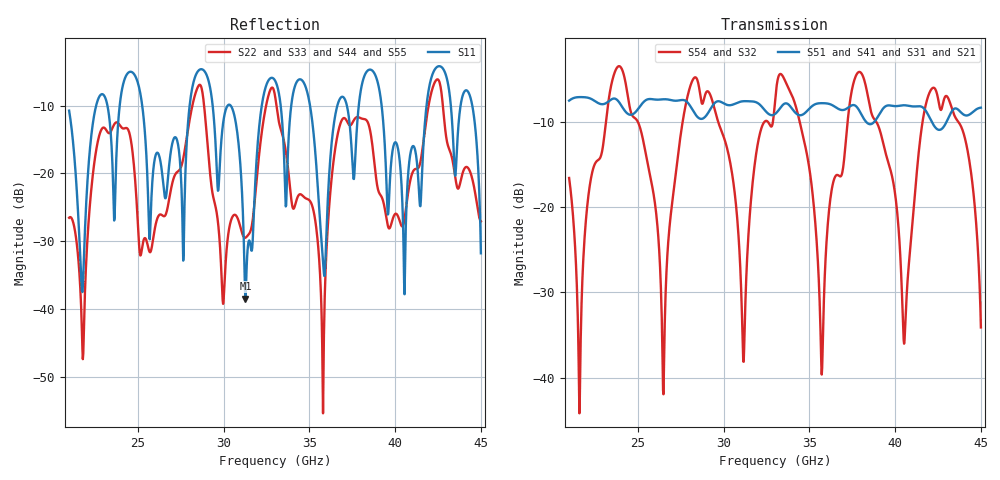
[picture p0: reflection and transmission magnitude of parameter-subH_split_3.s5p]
! Created Mon Jun 10 12:42:21 2024
# hz S ma R 50
! 5 Port Network Data from SP1.SP block
! freq  magS11  angS11  magS12  angS12  magS13  angS13  magS14  angS14
!  magS15  angS15
!  magS21  angS21  magS22  angS22  magS23  angS23
!  magS24  angS24  magS25  angS25
!  magS31  angS31  magS32  angS32
!  magS33  angS33  magS34  angS34  magS35  angS35
!  magS41  angS41
!  magS42  angS42  magS43  angS43  magS44  angS44  magS45  angS45
!  magS51  angS51  magS52  angS52  magS53  angS53  magS54  angS54
!  magS55  angS55
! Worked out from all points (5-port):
!   961 points, 21 GHz to 45 GHz, reference 50 ohm
!   strongest paths, dB at 21 GHz, 27 GHz, 33 GHz, 39 GHz, 45 GHz:
!     S51: -7.5, -7.5, -9.1, -9.4, -8.3
!     S41: -7.5, -7.5, -9.1, -9.4, -8.3
!     S31: -7.5, -7.5, -9.1, -9.4, -8.3
!     S21: -7.5, -7.5, -9.1, -9.4, -8.3
!     S54: -16.6, -19.6, -7.6, -10.4, -34.1
!     S32: -16.6, -19.6, -7.6, -10.4, -34.1
!   lowest |S11| = -38.5 dB at 31.27 GHz (marker M1), VSWR 1.02, Z = 50.9 + j0.762 ohm
!   |S11| at or under -10 dB: 25.26 GHz to 28.02 GHz (2.763 GHz wide, 10.4 % of centre); 30.42 GHz to 32.23 GHz (1.806 GHz wide, 5.77 % of centre); 39.22 GHz to 41.83 GHz (2.616 GHz wide, 6.46 % of centre)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
